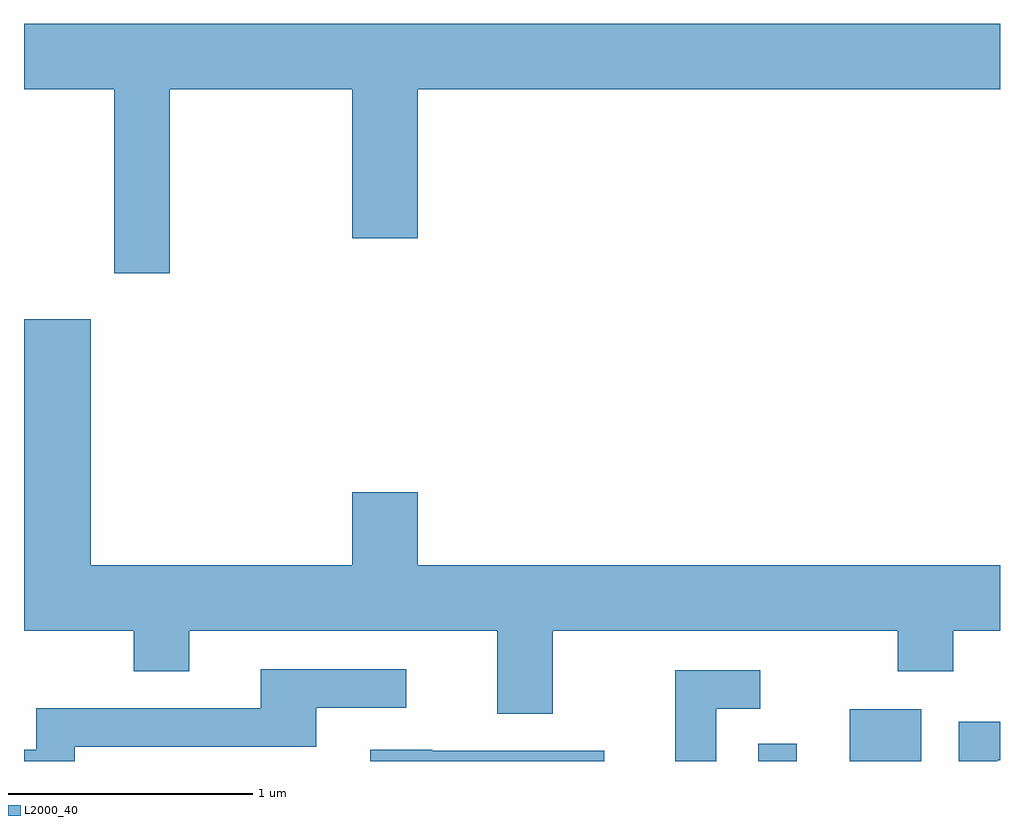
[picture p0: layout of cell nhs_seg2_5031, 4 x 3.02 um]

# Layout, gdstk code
import gdstk
lib = gdstk.Library(unit=1e-6, precision=1e-09)
def R(c, l, rs):  # rectangles x0, y0, x1, y1
    for r in rs: c.add(gdstk.rectangle(r[:2], r[2:], *l))
def P(c, l, *ps):  # polygons
    for p in ps: c.add(gdstk.Polygon(p, *l))
L2000_40 = (2000, 40)

nhs_seg2_5031 = lib.new_cell('nhs_seg2_5031')
R(nhs_seg2_5031, L2000_40, [(336.621,1027.802,336.779,1027.873), (336.996,1027.802,337.289,1028.014)])
P(nhs_seg2_5031, L2000_40, [(334.209,1030.556),(334.956,1030.556),(334.956,1029.946),(335.224,1029.946),(335.224,1030.556),(337.611,1030.556),(337.611,1030.824),(333.611,1030.824),(333.611,1030.556),(333.981,1030.556),(333.981,1029.801),(334.209,1029.801)],
  [(335.779,1028.336),(337.191,1028.336),(337.191,1028.171),(337.419,1028.171),(337.419,1028.336),(337.611,1028.336),(337.611,1028.604),(335.224,1028.604),(335.224,1028.904),(334.956,1028.904),(334.956,1028.604),(333.884,1028.604),(333.884,1029.614),(333.611,1029.614),(333.611,1028.336),(334.061,1028.336),(334.061,1028.171),(334.289,1028.171),(334.289,1028.336),(335.551,1028.336),(335.551,1027.996),(335.779,1027.996)],
  [(333.819,1027.861),(334.809,1027.861),(334.809,1028.021),(335.178,1028.021),(335.178,1028.179),(334.581,1028.179),(334.581,1028.019),(333.661,1028.019),(333.661,1027.849),(333.611,1027.849),(333.611,1027.802),(333.819,1027.802)],
  [(336.449,1028.016),(336.628,1028.016),(336.628,1028.174),(336.281,1028.174),(336.281,1027.802),(336.449,1027.802)],
  [(337.599,1027.806),(337.611,1027.806),(337.611,1027.964),(337.441,1027.964),(337.441,1027.802),(337.599,1027.802)],
  [(335.989,1027.844),(335.285,1027.844),(335.285,1027.849),(335.031,1027.849),(335.031,1027.802),(335.989,1027.802)])

lib.write_gds('nhs_seg2_5031.gds')
